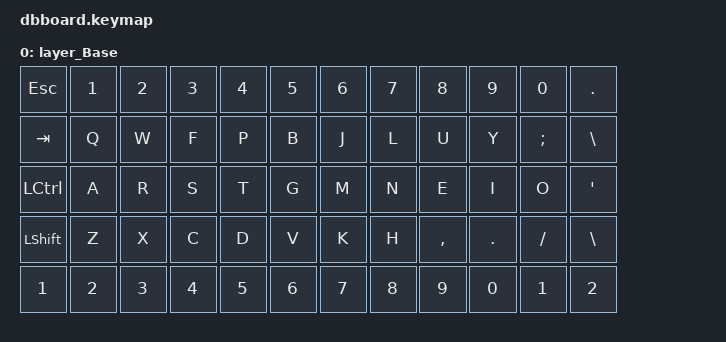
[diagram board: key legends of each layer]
#include <behaviors.dtsi>
/* Include all behavior includes needed */
#include <dt-bindings/zmk/outputs.h>
#include <dt-bindings/zmk/keys.h>

#define LAYER_Base 0

/ {
    keymap {
        compatible = "zmk,keymap";

        layer_Base {
            bindings = <
              &kp ESC   &kp N1 &kp N2 &kp N3 &kp N4 &kp N5 &kp N6 &kp N7 &kp N8    &kp N9  &kp N0   &kp DOT
              &kp TAB   &kp Q  &kp W  &kp F  &kp P  &kp B  &kp J  &kp L  &kp U     &kp Y   &kp SEMI &kp BSLH
              &kp LCTRL &kp A  &kp R  &kp S  &kp T  &kp G  &kp M  &kp N  &kp E     &kp I   &kp O    &kp SQT
              &kp LSHFT &kp Z  &kp X  &kp C  &kp D  &kp V  &kp K  &kp H  &kp COMMA &kp DOT &kp FSLH &kp BSLH
              &kp 1     &kp 2  &kp 3  &kp 4  &kp 5  &kp 6  &kp 7  &kp 8  &kp 9     &kp 0   &kp 1    &kp 2
            >;
        };
    };
};
